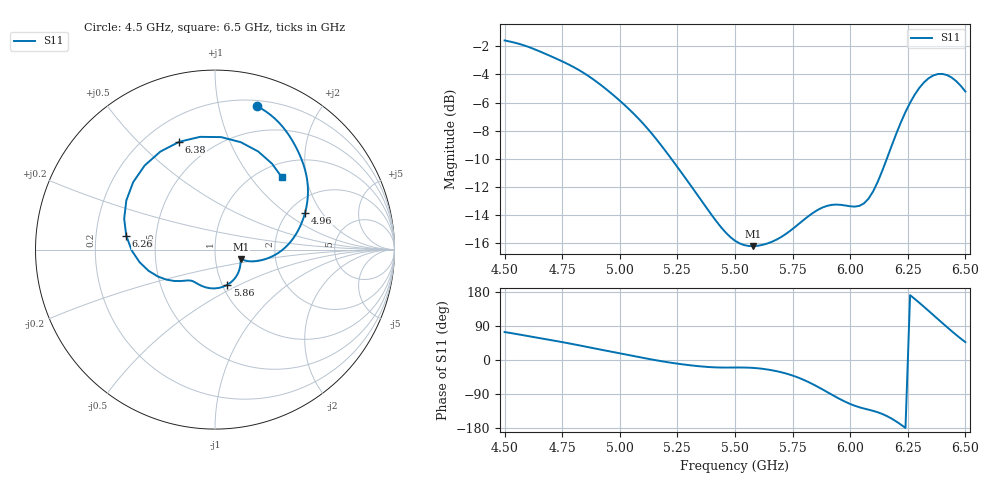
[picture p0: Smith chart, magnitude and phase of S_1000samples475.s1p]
! TOUCHSTONE file generated by CST MICROWAVE STUDIO
! Date and time: Fri Oct 28 07:11:23 2022
! Project name: L.cst
! Parameters = {Di=1.27; Epsilon_r=1.56; InnerDiameter=1.27; Length=2; Lf=10; Lg=60; OuterConductorThickness=0.2921; OuterDiameter=3.6; Wf=3; Wp=41.2; de=1.5; df=6.8; g=0.8; gx=1.42621; gy=2.80901; h=2.34; hf=1.524; px=12.0672; py=9.62774; w=9.7; wx=10.641; wy=6.81873}
! Header version: 2018
! Port assignment regex: !\s*Touchstone port\s*([0-9]+)\s*=\s*(CST MWS port|CST DS port)\s*([0-9]+|Zmin|Zmax)\s*\(\"(.*)\"\)(\s*mode\s*([0-9]+))?.*
! Touchstone port assignment:
! Touchstone port 1 = CST MWS port 1 ("")
# GHz S DB R 50
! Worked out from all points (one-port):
!   101 points, 4.5 GHz to 6.5 GHz, reference 50 ohm
!   lowest |S11| = -16.2 dB at 5.58 GHz (marker M1), VSWR 1.37, Z = 66.4 - j7.49 ohm
!   |S11| at or under -10 dB: 5.223 GHz to 6.159 GHz (935.8 MHz wide, 16.4 % of centre)
!   S11 on the Smith chart (normalised r, x): 4.5 GHz: 0.25, +1.30; 4.96 GHz: 2.43, +1.42; 5.86 GHz: 1.05, -0.43; 6.26 GHz: 0.33, +0.07; 6.38 GHz: 0.33, +0.67; 6.5 GHz: 1.26, +1.45
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4.5  -1.58 73.7
4.64  -2.28 59.0
4.76  -3.15 46.1
4.86  -4.07 34.3
4.96  -5.31 22.3
5  -5.87 17.6
5.14  -8.24 1.2
5.26  -10.82 -10.4
5.4  -14.04 -19.0
5.5  -15.84 -19.8
5.58  -16.23 -20.9
5.76  -14.87 -43.1
5.86  -13.64 -71.0
5.92  -13.29 -91.4
6  -13.39 -116.1
6.08  -12.84 -131.1
6.14  -10.83 -142.6
6.18  -9.08 -154.7
6.22  -7.41 -170.5
6.26  -6.02 171.1
6.3  -4.96 151.0
6.32  -4.57 140.5
6.34  -4.28 129.9
6.38  -3.97 108.3
6.4  -3.96 97.5
6.44  -4.22 76.4
6.48  -4.81 56.5
6.5  -5.22 47.2
